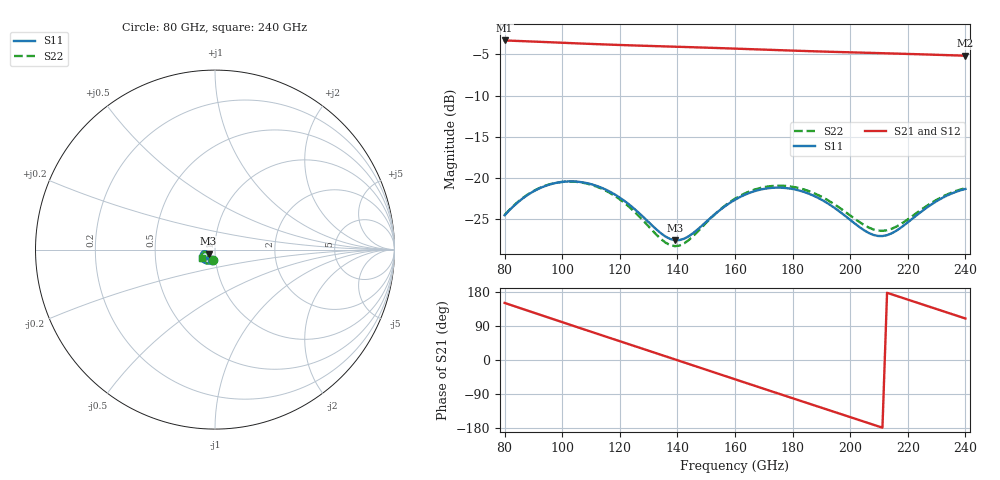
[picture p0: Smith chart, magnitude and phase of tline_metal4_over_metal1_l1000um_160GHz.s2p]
#  GHZ S DB R 50
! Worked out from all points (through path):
!   101 points, 80 GHz to 240 GHz, reference 50 ohm
!   highest |S21| = -3.31 dB at 80 GHz (marker M1); lowest = -5.2 dB at 240 GHz (marker M2)
!   group delay of S21, straight-line fit = 6.96 ps
!   lowest |S11| = -27.6 dB at 139.2 GHz (marker M3), VSWR 1.09, Z = 46.5 - j2.03 ohm
!   |S11| at or under -10 dB: start of sweep to end of sweep
!   |S22| runs from -28.3 to -20.4 dB; largest |S21 - S12| = 1.1e-13
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80  -24.54 -104.2  -3.31 150.6  -3.31 150.6  -24.52 -101.8
88  -22.08 -111.5  -3.41 130.3  -3.41 130.3  -22.03 -109.9
94.4  -20.95 -121.5  -3.50 114.1  -3.50 114.1  -20.92 -120.3
100.8  -20.46 -132.6  -3.60 97.9  -3.60 97.9  -20.47 -131.8
107.2  -20.55 -143.7  -3.69 81.7  -3.69 81.7  -20.60 -143.2
113.6  -21.19 -154.0  -3.78 65.6  -3.78 65.6  -21.30 -153.7
121.6  -22.80 -163.7  -3.88 45.6  -3.88 45.6  -23.04 -163.7
134.4  -26.77 -160.2  -4.02 13.5  -4.02 13.5  -27.47 -158.5
139.2  -27.58 -148.6  -4.07 1.4  -4.07 1.4  -28.30 -144.4
142.4  -27.39 -140.0  -4.10 -6.6  -4.10 -6.6  -27.95 -134.4
148.8  -25.72 -129.2  -4.17 -22.7  -4.17 -22.7  -25.89 -123.0
160  -22.66 -131.7  -4.30 -50.9  -4.30 -50.9  -22.54 -126.8
166.4  -21.66 -139.0  -4.38 -66.9  -4.38 -66.9  -21.47 -134.5
172.8  -21.22 -147.5  -4.45 -82.9  -4.45 -82.9  -20.99 -143.4
179.2  -21.31 -156.3  -4.53 -98.9  -4.53 -98.9  -21.04 -152.3
187.2  -22.16 -165.9  -4.62 -118.8  -4.62 -118.8  -21.83 -162.0
201.6  -25.55 -169.8  -4.77 -154.7  -4.77 -154.7  -24.98 -166.6
208  -26.93 -159.6  -4.83 -170.7  -4.83 -170.7  -26.26 -157.9
214.4  -26.74 -144.9  -4.89 173.4  -4.89 173.4  -26.19 -144.9
225.6  -23.87 -135.2  -5.00 145.4  -5.00 145.4  -23.64 -135.5
233.6  -22.16 -139.9  -5.09 125.5  -5.09 125.5  -22.03 -139.8
240  -21.35 -146.7  -5.16 109.5  -5.16 109.5  -21.26 -146.3
